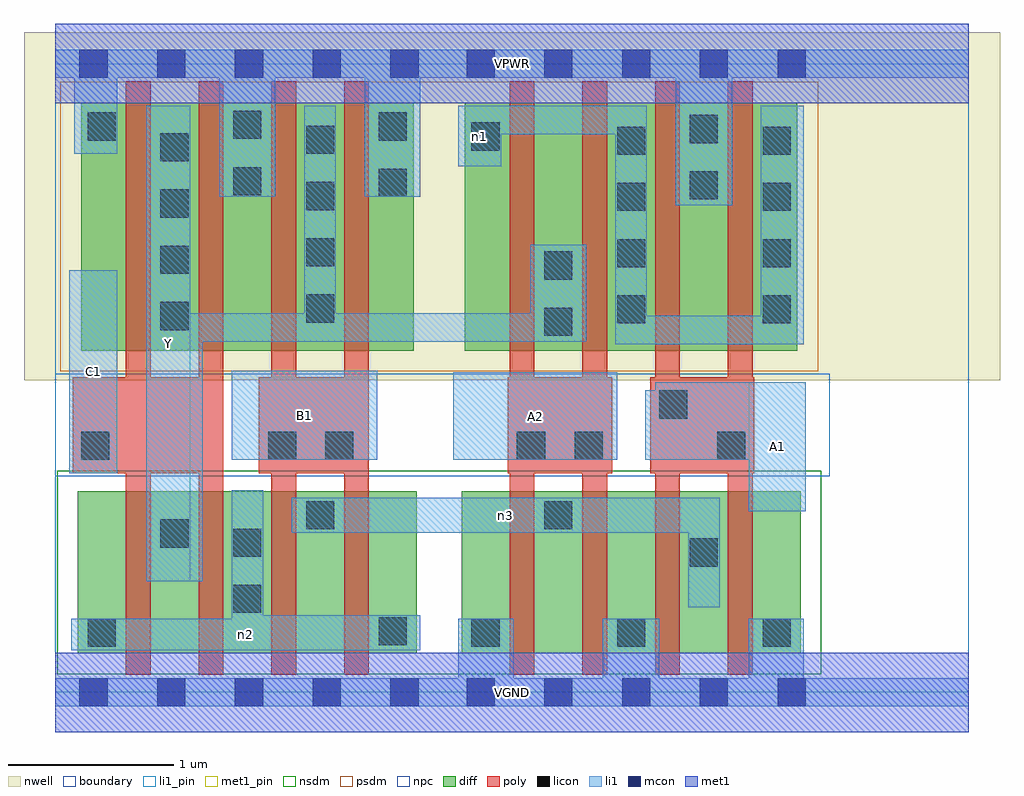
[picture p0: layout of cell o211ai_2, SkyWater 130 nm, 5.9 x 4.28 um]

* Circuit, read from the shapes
.subckt o211ai_2 A1 A2 B1 C1 VGND VPWR Y n1 n2 n3
XM1 Y C1 n2 VSUBS sky130_fd_pr__nfet_01v8 w=0.98 l=0.15 m=2
XM2 n3 B1 n2 VSUBS sky130_fd_pr__nfet_01v8 w=0.98 l=0.15 m=2
XM3 n3 A2 VGND VSUBS sky130_fd_pr__nfet_01v8 w=0.98 l=0.15 m=2
XM4 n3 A1 VGND VSUBS sky130_fd_pr__nfet_01v8 w=0.98 l=0.15 m=2
XM5 Y C1 VPWR n4 sky130_fd_pr__pfet_01v8 w=1.5 l=0.15 m=2
XM6 Y B1 VPWR n4 sky130_fd_pr__pfet_01v8 w=1.5 l=0.15 m=2
XM7 Y A2 n1 n4 sky130_fd_pr__pfet_01v8 w=1.5 l=0.15 m=2
XM8 VPWR A1 n1 n4 sky130_fd_pr__pfet_01v8 w=1.5 l=0.15 m=2
.ends

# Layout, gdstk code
import gdstk
lib = gdstk.Library(unit=1e-6, precision=1e-09)
def R(c, l, rs):  # rectangles x0, y0, x1, y1
    for r in rs: c.add(gdstk.rectangle(r[:2], r[2:], *l))
def A(c, l, x, y, w, h, nx, ny, dx, dy):  # array of equal rectangles
    R(c, l, [(x+i*dx, y+j*dy, x+i*dx+w, y+j*dy+h) for i in range(nx) for j in range(ny)])
nwell = (64, 20)
diff = (65, 20)
poly = (66, 20)
licon = (66, 44)
li1_pin = (67, 16)
li1 = (67, 20)
mcon = (67, 44)
met1_pin = (68, 16)
met1 = (68, 20)
nsdm = (93, 44)
psdm = (94, 20)
npc = (95, 20)
boundary = (235, 4)

o211ai_2 = lib.new_cell('o211ai_2')
R(o211ai_2, nwell, [(-0.19,1.885,5.71,3.99), (0,1.885,5.52,3.99)])
R(o211ai_2, diff, [(0.135,0.235,2.185,1.215), (2.455,0.235,4.505,1.215), (0.155,2.065,2.165,3.565), (2.475,2.065,4.485,3.565)])
A(o211ai_2, poly, 0.425, 0.105, 0.15, 3.59, 4, 1, 0.44, 0)
A(o211ai_2, poly, 2.745, 0.105, 0.15, 3.59, 4, 1, 0.44, 0)
R(o211ai_2, poly, [(0.105,1.325,1.015,1.905), (1.23,1.325,1.895,1.905), (2.735,1.325,3.365,1.905), (3.595,1.325,4.225,1.905)])
A(o211ai_2, licon, 2.515, 0.275, 0.17, 0.17, 3, 1, 0.88, 0)
A(o211ai_2, licon, 0.635, 2.19, 0.17, 0.17, 1, 4, 0, 0.34)
A(o211ai_2, licon, 3.395, 2.23, 0.17, 0.17, 1, 4, 0, 0.34)
A(o211ai_2, licon, 4.275, 2.23, 0.17, 0.17, 1, 4, 0, 0.34)
A(o211ai_2, licon, 1.515, 2.235, 0.17, 0.17, 1, 4, 0, 0.34)
R(o211ai_2, licon, [(0.195,0.275,0.365,0.445), (1.955,0.285,2.125,0.455), (1.075,0.48,1.245,0.65), (3.835,0.76,4.005,0.93), (1.075,0.82,1.245,0.99), (0.635,0.875,0.805,1.045), (1.515,0.985,1.685,1.155), (2.955,0.985,3.125,1.155), (0.155,1.405,0.325,1.575), (1.285,1.405,1.455,1.575), (1.63,1.405,1.8,1.575), (2.79,1.405,2.96,1.575), (3.14,1.405,3.31,1.575), (4,1.405,4.17,1.575), (3.65,1.655,3.82,1.825), (2.955,2.155,3.125,2.325), (2.955,2.495,3.125,2.665), (3.835,2.98,4.005,3.15), (1.955,2.995,2.125,3.165), (1.075,3.005,1.245,3.175), (2.515,3.275,2.685,3.445), (3.835,3.32,4.005,3.49), (0.195,3.335,0.365,3.505), (1.955,3.335,2.125,3.505), (1.075,3.345,1.245,3.515)])
R(o211ai_2, li1_pin, [(0.55,0.67,0.815,3.545), (4.19,1.095,4.535,1.875), (0.085,1.325,0.375,2.55), (1.065,1.405,1.945,1.945), (2.405,1.405,3.395,1.935)])
R(o211ai_2, li1, [(0,-0.085,5.52,0.085), (2.435,-0.085,2.77,0.445), (3.31,-0.085,3.65,0.445), (4.19,-0.085,4.525,0.445), (0.095,0.255,2.205,0.445), (1.065,0.255,1.255,1.22), (1.065,0.255,2.205,0.465), (3.825,0.515,4.015,1.175), (0.55,0.67,0.815,3.545), (0.55,0.67,0.89,2.29), (1.43,0.965,4.015,1.175), (4.19,1.095,4.535,1.875), (0.085,1.325,0.375,2.55), (1.065,1.405,1.945,1.945), (2.405,1.405,3.395,1.935), (3.565,1.405,4.535,1.825), (3.625,1.405,4.19,1.875), (3.385,2.105,4.525,2.275), (3.385,2.105,3.575,3.545), (4.265,2.105,4.525,3.545), (0.55,2.12,3.21,2.29), (1.505,2.12,1.695,3.545), (2.87,2.12,3.21,2.705), (3.75,2.945,4.09,3.885), (0.99,2.995,1.33,3.885), (1.87,2.995,2.205,3.885), (2.435,3.18,2.695,3.545), (0.115,3.255,0.375,3.885), (2.435,3.375,3.575,3.545), (0,3.715,5.52,3.885)])
A(o211ai_2, mcon, 0.145, -0.085, 0.17, 0.17, 5, 2, 0.47, 3.8)
A(o211ai_2, mcon, 2.485, -0.085, 0.17, 0.17, 5, 2, 0.47, 3.8)
R(o211ai_2, met1_pin, [(0,-0.24,5.52,0.24), (0,3.56,5.52,4.04)])
R(o211ai_2, met1, [(0,-0.24,5.52,0.24), (0,3.56,5.52,4.04)])
R(o211ai_2, nsdm, [(0.01,0.11,4.63,1.34)])
R(o211ai_2, psdm, [(0.03,1.94,4.61,3.69)])
R(o211ai_2, npc, [(0,1.305,4.68,1.925)])
R(o211ai_2, boundary, [(0,0,5.52,3.8)])
o211ai_2.add(gdstk.Label('A1', (4.362,1.485), layer=67, texttype=5))
o211ai_2.add(gdstk.Label('A2', (2.9,1.67), layer=67, texttype=5))
o211ai_2.add(gdstk.Label('B1', (1.505,1.675), layer=67, texttype=5))
o211ai_2.add(gdstk.Label('C1', (0.23,1.937), layer=67, texttype=5))
o211ai_2.add(gdstk.Label('Y', (0.682,2.107), layer=67, texttype=5))
o211ai_2.add(gdstk.Label('n3', (2.722,1.07), layer=67, texttype=5))
o211ai_2.add(gdstk.Label('n2', (1.15,0.35), layer=67, texttype=5))
o211ai_2.add(gdstk.Label('n1', (2.565,3.362), layer=67, texttype=5))
o211ai_2.add(gdstk.Label('VPWR', (2.76,3.8), layer=68, texttype=5))
o211ai_2.add(gdstk.Label('VGND', (2.76,0), layer=68, texttype=5))
o211ai_2.add(gdstk.Label('A1', (4.362,1.485), layer=67, texttype=16))
o211ai_2.add(gdstk.Label('A2', (2.9,1.67), layer=67, texttype=16))
o211ai_2.add(gdstk.Label('B1', (1.505,1.675), layer=67, texttype=16))
o211ai_2.add(gdstk.Label('C1', (0.23,1.937), layer=67, texttype=16))
o211ai_2.add(gdstk.Label('Y', (0.682,2.107), layer=67, texttype=16))
o211ai_2.add(gdstk.Label('VPWR', (2.76,3.8), layer=68, texttype=16))
o211ai_2.add(gdstk.Label('VGND', (2.76,0), layer=68, texttype=16))

lib.write_gds('o211ai_2.gds')
